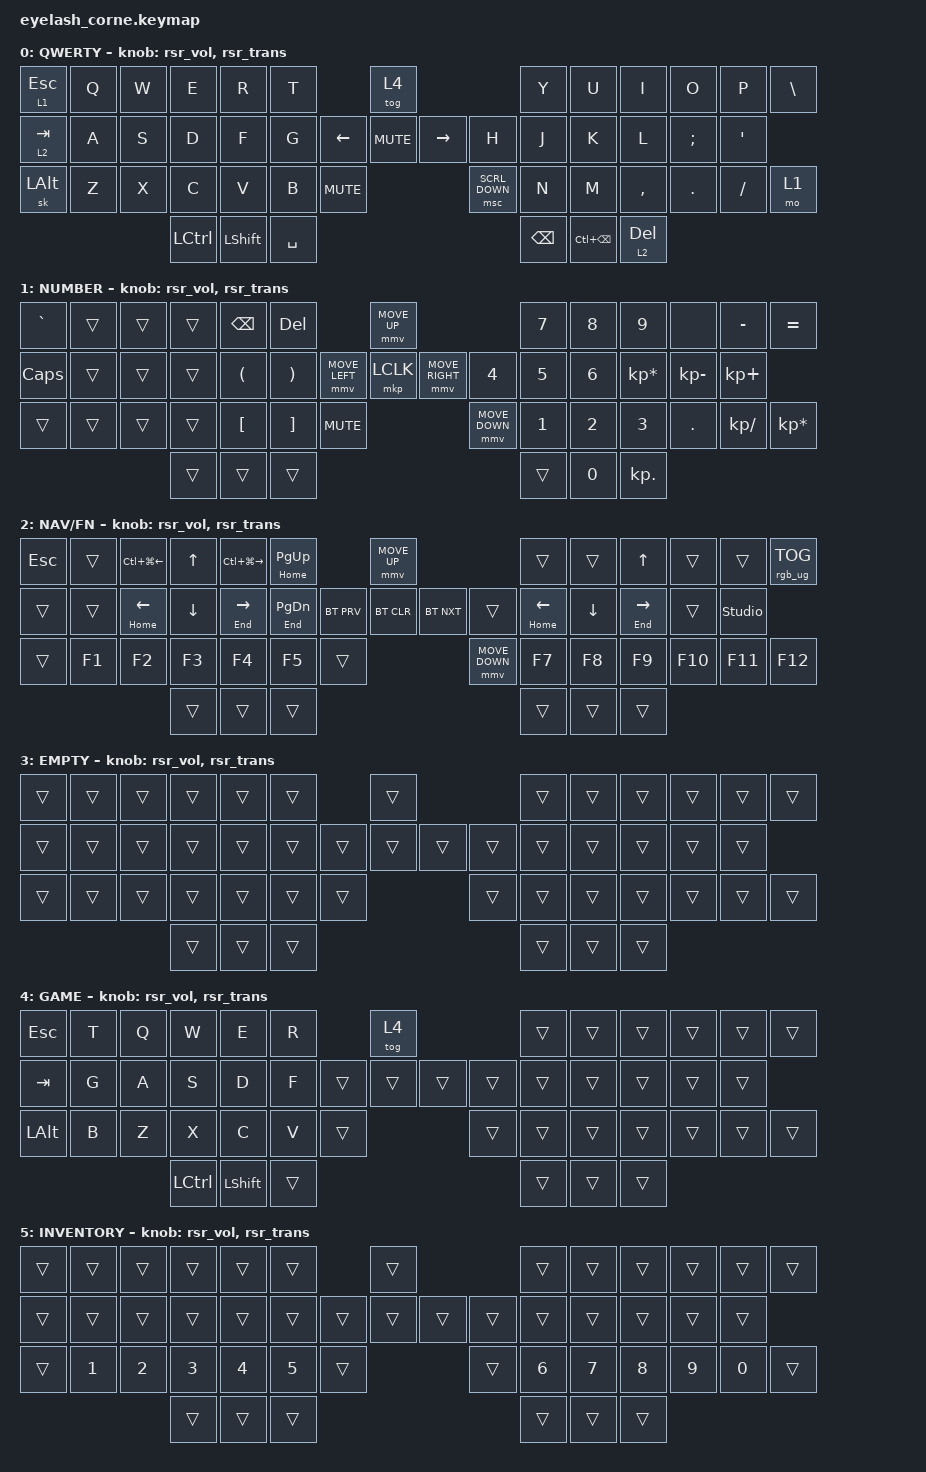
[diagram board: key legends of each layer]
#define ZMK_POINTING_DEFAULT_MOVE_VAL 1200  // 600
#define ZMK_POINTING_DEFAULT_SCRL_VAL 25   // 10

#include <input/processors.dtsi>
#include <zephyr/dt-bindings/input/input-event-codes.h>
#include <behaviors.dtsi>
#include <behaviors/runtime-sensor-rotate.dtsi>
#include <dt-bindings/zmk/bt.h>
#include <dt-bindings/zmk/keys.h>
#include <dt-bindings/zmk/outputs.h>
#include <dt-bindings/zmk/pointing.h>
#include <dt-bindings/zmk/rgb.h>

&mmv_input_listener { input-processors = <&zip_xy_scaler 2 1>; };

&msc_input_listener { input-processors = <&zip_scroll_scaler 2 1>; };

&msc {
    acceleration-exponent = <1>;      // 0
    time-to-max-speed-ms = <100>;       // 300
    delay-ms = <0>;                   // 0
};

&mmv {
    time-to-max-speed-ms = <500>;
    acceleration-exponent = <1>;
    trigger-period-ms = <16>;
};

&soft_off { hold-time-ms = <2000>; };

&lt {
    flavor = "hold-preferred";
    tapping-term-ms = <200>;
};

/ {
    // ==================== BEHAVIORS ====================
    behaviors {
        // Hold-tap: tap=PgUp, hold=Home
        ht_pgup: ht_pgup {
            compatible = "zmk,behavior-hold-tap";
            #binding-cells = <2>;
            flavor = "tap-preferred";
            tapping-term-ms = <200>;
            bindings = <&kp>, <&kp>;
        };

        // Hold-tap: tap=PgDn, hold=End
        ht_pgdn: ht_pgdn {
            compatible = "zmk,behavior-hold-tap";
            #binding-cells = <2>;
            flavor = "tap-preferred";
            tapping-term-ms = <200>;
            bindings = <&kp>, <&kp>;
        };

        // Hold-tap: tap=Left, hold=Home
        ht_left: ht_left {
            compatible = "zmk,behavior-hold-tap";
            #binding-cells = <2>;
            flavor = "tap-preferred";
            tapping-term-ms = <200>;
            bindings = <&kp>, <&kp>;
        };

        // Hold-tap: tap=Right, hold=End
        ht_right: ht_right {
            compatible = "zmk,behavior-hold-tap";
            #binding-cells = <2>;
            flavor = "tap-preferred";
            tapping-term-ms = <200>;
            bindings = <&kp>, <&kp>;
        };

        rsr_trans: rsr_trans {
            compatible = "zmk,behavior-runtime-sensor-rotate";
            #sensor-binding-cells = <0>;
            tap-ms = <0>;
        };

        rsr_vol: rsr_vol {
            compatible = "zmk,behavior-runtime-sensor-rotate";
            #sensor-binding-cells = <0>;
            tap-ms = <5>;
            cw-binding = <&kp C_VOL_UP>;
            ccw-binding = <&kp C_VOL_DN>;
        };
    };

    rgb_encoder: rgb_encoder {
        compatible = "zmk,behavior-sensor-rotate";
        #sensor-binding-cells = <0>;
        bindings = <&rgb_ug RGB_BRI>, <&rgb_ug RGB_BRD>;
    };

    scroll_encoder: scroll_encoder {
        compatible = "zmk,behavior-sensor-rotate";
        #sensor-binding-cells = <0>;
        bindings = <&msc SCRL_DOWN>, <&msc SCRL_UP>;

        tap-ms = <100>;
    };

    // ==================== COMBOS ====================
    combos {
        compatible = "zmk,combos";

        // J+K = Enter (positions 23+24)
        combo_jk_enter {
            timeout-ms = <50>;
            key-positions = <23 24>;
            bindings = <&kp ENTER>;
        };

        // D+F = Enter (positions 16+17)
        combo_df_enter {
            timeout-ms = <50>;
            key-positions = <16 17>;
            layers = <0 1 2 3>;
            bindings = <&kp ENTER>;
        };

        // X+C = One-shot GUI (positions 30+31)
        combo_xc_gui {
            timeout-ms = <50>;
            key-positions = <30 31>;
            layers = <0 1 2 3>;
            bindings = <&sk LGUI>;
        };

        // Left Control+Shift = Inventory while held on GAME.
        combo_game_inventory {
            timeout-ms = <50>;
            key-positions = <42 43>;
            layers = <4>;
            bindings = <&mo 5>;
        };

    };

    // ==================== KEYMAP ====================
    keymap {
        compatible = "zmk,keymap";

        default_layer {
            display-name = "QWERTY";
            // Esc/L1 Q W E R T  [joy]  Y U I O P \
            // Tab/L2 A S D F G  [joy]  H J K L ; '
            // OSM(Alt) Z X C V B  [Mute]  N M , . / MO(1)
            //          LCtrl LShift Space    Bksp Ctrl+Bksp Del/Nav
            bindings = <
&lt 1 ESC   &kp Q  &kp W  &kp E      &kp R      &kp T                                  &tog 4                       &kp Y     &kp U  &kp I      &kp O    &kp P     &kp BSLH
&lt 2 TAB   &kp A  &kp S  &kp D      &kp F      &kp G                        &kp LEFT  &kp C_MUTE &kp RIGHT  &kp H     &kp J  &kp K      &kp L    &kp SEMI  &kp SQT
&sk LALT    &kp Z  &kp X  &kp C      &kp V      &kp B        &kp C_MUTE                &msc SCRL_DOWN              &kp N     &kp M  &kp COMMA  &kp DOT  &kp FSLH  &mo 1
                          &kp LCTRL  &kp LSHFT  &kp SPACE                                                    &kp BSPC  &kp LC(BSPC)  &lt 2 DEL
            >;

            sensor-bindings = <&rsr_vol &rsr_trans>;
        };

        lower_layer {
            display-name = "NUMBER";
            // ` _ _ _ Bksp Del  [joy]  7 8 9 _ - =
            // Caps _ _ _ ( )  [joy]  4 5 6 * KP- KP+
            // _ _ _ _ [ ]  [joy]  1 2 3 . KP/ KP*
            //          _ _ _    _ 0 KP.
            bindings = <
&kp GRAVE &trans  &trans  &trans  &kp BSPC  &kp DEL                                        &mmv MOVE_UP                     &kp N7  &kp N8  &kp N9      &none            &kp MINUS     &kp EQUAL
&kp CAPS  &trans  &trans  &trans  &kp LPAR  &kp RPAR                       &mmv MOVE_LEFT  &mkp LCLK       &mmv MOVE_RIGHT  &kp N4  &kp N5  &kp N6      &kp KP_ASTERISK  &kp KP_MINUS  &kp KP_PLUS
&trans    &trans  &trans  &trans  &kp LBKT  &kp RBKT       &kp C_MUTE                      &mmv MOVE_DOWN                   &kp N1  &kp N2  &kp N3      &kp DOT          &kp KP_SLASH  &kp KP_ASTERISK
                          &trans  &trans    &trans                                                                          &trans  &kp N0  &kp KP_DOT
            >;

            sensor-bindings = <&rsr_vol &rsr_trans>;
        };

        raise_layer {
            display-name = "NAV/FN";
            // Esc _ M0 Up M1 PgUp/Hm  [joy]  _ _ Up _ _ _
            // _ _ Left/Hm Down Right/End PgDn/End  [joy]  _ Left/Hm Down Right/End _ _
            // _ F1 F2 F3 F4 F5  [joy]  F7 F8 F9 F10 F11 F12
            //          _ _ _    _ _ _
            bindings = <
&kp ESC  &trans  &kp LC(LG(LEFT))       &kp UP    &kp LC(LG(RIGHT))       &ht_pgup HOME PG_UP                            &mmv MOVE_UP                     &trans  &trans                  &kp UP    &trans                   &trans   &rgb_ug RGB_TOG
&trans  &trans  &ht_left HOME LEFT  &kp DOWN  &ht_right END RIGHT  &ht_pgdn END PG_DN             &bt BT_PRV      &bt BT_CLR      &bt BT_NXT       &trans  &ht_left HOME LEFT      &kp DOWN  &ht_right END RIGHT      &trans   &studio_unlock
&trans  &kp F1  &kp F2              &kp F3    &kp F4               &kp F5              &trans                     &mmv MOVE_DOWN                   &kp F7  &kp F8                  &kp F9    &kp F10                  &kp F11  &kp F12
                                    &trans    &trans               &trans                                                                          &trans  &trans                  &trans
            >;

            sensor-bindings = <&rsr_vol &rsr_trans>;
        };

        layer_3 {
            display-name = "EMPTY";
            bindings = <
&trans  &trans  &trans  &trans  &trans  &trans                          &trans                  &trans  &trans  &trans  &trans  &trans  &trans
&trans  &trans  &trans  &trans  &trans  &trans          &trans  &trans  &trans                  &trans  &trans  &trans  &trans  &trans  &trans
&trans  &trans  &trans  &trans  &trans  &trans  &trans          &trans                          &trans  &trans  &trans  &trans  &trans  &trans
                        &trans  &trans  &trans                                                  &trans  &trans  &trans
            >;

            sensor-bindings = <&rsr_vol &rsr_trans>;
        };

        game_layer {
            display-name = "GAME";
            // Plain modifiers/layer keys avoid hold-tap and one-shot behavior in games.
            // Rotate the left alpha columns right: TGB | QAZ | WSX | EDC | RFV.
            // Hold left Control+Shift together for the inventory number layer.
            bindings = <
&kp ESC    &kp T  &kp Q  &kp W  &kp E  &kp R                          &tog 4                  &trans  &trans  &trans  &trans  &trans  &trans
&kp TAB    &kp G  &kp A  &kp S  &kp D  &kp F          &trans  &trans  &trans                  &trans  &trans  &trans  &trans  &trans  &trans
&kp LALT   &kp B  &kp Z  &kp X  &kp C  &kp V  &trans          &trans                          &trans  &trans  &trans  &trans  &trans  &trans
                         &kp LCTRL  &kp LSHFT  &trans                                            &trans  &trans  &trans
            >;

            sensor-bindings = <&rsr_vol &rsr_trans>;
        };

        inventory_layer {
            display-name = "INVENTORY";
            // Physical ZXCVB = 12345, NM,./ = 67890; movement falls through to GAME.
            bindings = <
&trans  &trans  &trans  &trans  &trans  &trans                          &trans                  &trans  &trans  &trans  &trans  &trans  &trans
&trans  &trans  &trans  &trans  &trans  &trans          &trans  &trans  &trans                  &trans  &trans  &trans  &trans  &trans  &trans
&trans  &kp N1  &kp N2  &kp N3  &kp N4  &kp N5  &trans          &trans                          &kp N6  &kp N7  &kp N8  &kp N9  &kp N0  &trans
                       &trans  &trans  &trans                                                  &trans  &trans  &trans
            >;

            sensor-bindings = <&rsr_vol &rsr_trans>;
        };
    };
};
